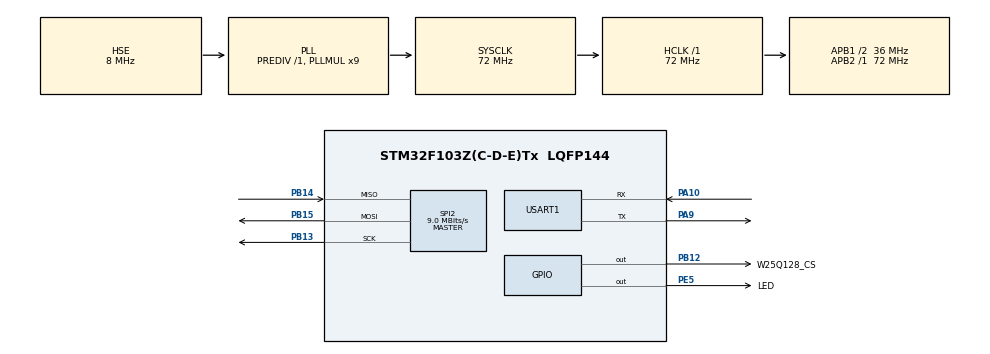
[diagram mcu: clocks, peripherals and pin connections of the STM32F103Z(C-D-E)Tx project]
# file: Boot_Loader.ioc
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Dma.Request0=USART1_RX
Dma.USART1_RX.0.Direction=DMA_PERIPH_TO_MEMORY
Dma.USART1_RX.0.Instance=DMA1_Channel5
Dma.USART1_RX.0.MemDataAlignment=DMA_MDATAALIGN_BYTE
Dma.USART1_RX.0.MemInc=DMA_MINC_ENABLE
Dma.USART1_RX.0.Mode=DMA_CIRCULAR
Dma.USART1_RX.0.PeriphDataAlignment=DMA_PDATAALIGN_BYTE
Dma.USART1_RX.0.PeriphInc=DMA_PINC_DISABLE
Dma.USART1_RX.0.Priority=DMA_PRIORITY_LOW
Mcu.Family=STM32F1
Mcu.Name=STM32F103Z(C-D-E)Tx
Mcu.Package=LQFP144
NVIC.DMA1_Channel5_IRQn=true\:0\:0\:false\:false\:true\:false\:true\:true
NVIC.PriorityGroup=NVIC_PRIORITYGROUP_4
NVIC.USART1_IRQn=true\:0\:0\:false\:false\:true\:true\:true\:true
OSC_IN.Mode=HSE-External-Oscillator
OSC_IN.Signal=RCC_OSC_IN
OSC_OUT.Mode=HSE-External-Oscillator
OSC_OUT.Signal=RCC_OSC_OUT
PA10.GPIO_PuPd=GPIO_PULLUP
PA10.Mode=Asynchronous
PA10.Signal=USART1_RX
PA13.Mode=Serial_Wire
PA13.Signal=SYS_JTMS-SWDIO
PA14.Mode=Serial_Wire
PA14.Signal=SYS_JTCK-SWCLK
PA9.Mode=Asynchronous
PA9.Signal=USART1_TX
PB12.GPIO_Label=W25Q128_CS
PB12.GPIO_PuPd=GPIO_PULLUP
PB12.GPIO_Speed=GPIO_SPEED_FREQ_HIGH
PB12.PinState=GPIO_PIN_SET
PB12.Signal=GPIO_Output
PB13.Mode=Full_Duplex_Master
PB13.Signal=SPI2_SCK
PB14.Mode=Full_Duplex_Master
PB14.Signal=SPI2_MISO
PB15.Mode=Full_Duplex_Master
PB15.Signal=SPI2_MOSI
PC14-OSC32_IN.Mode=LSE-External-Oscillator
PC14-OSC32_IN.Signal=RCC_OSC32_IN
PC15-OSC32_OUT.Mode=LSE-External-Oscillator
PC15-OSC32_OUT.Signal=RCC_OSC32_OUT
PE5.GPIO_Label=LED
PE5.GPIO_ModeDefaultOutputPP=GPIO_MODE_OUTPUT_PP
PE5.GPIO_PuPd=GPIO_PULLUP
PE5.GPIO_Speed=GPIO_SPEED_FREQ_LOW
PE5.PinState=GPIO_PIN_SET
PE5.Signal=GPIO_Output
ProjectManager.HeapSize=0x200
ProjectManager.StackSize=0x400
ProjectManager.TargetToolchain=CMake
RCC.AHBFreq_Value=72000000
RCC.APB1CLKDivider=RCC_HCLK_DIV2
RCC.APB1Freq_Value=36000000
RCC.APB1TimFreq_Value=72000000
RCC.APB2Freq_Value=72000000
RCC.APB2TimFreq_Value=72000000
RCC.HCLKFreq_Value=72000000
RCC.PLLMUL=RCC_PLL_MUL9
RCC.PLLSourceVirtual=RCC_PLLSOURCE_HSE
RCC.SYSCLKFreq_VALUE=72000000
RCC.SYSCLKSource=RCC_SYSCLKSOURCE_PLLCLK
RCC.USBFreq_Value=72000000
SPI2.BaudRatePrescaler=SPI_BAUDRATEPRESCALER_4
SPI2.CalculateBaudRate=9.0 MBits/s
SPI2.Direction=SPI_DIRECTION_2LINES
SPI2.Mode=SPI_MODE_MASTER
SPI2.VirtualType=VM_MASTER
USART1.VirtualMode=VM_ASYNC
board=custom

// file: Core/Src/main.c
/* USER CODE BEGIN Header */
/**
  ******************************************************************************
  * @file           : main.c
  * @brief          : Main program body
  ******************************************************************************
  * @attention
  *
  * Copyright (c) 2026 STMicroelectronics.
  * All rights reserved.
  *
  * This software is licensed under terms that can be found in the LICENSE file
  * in the root directory of this software component.
  * If no LICENSE file comes with this software, it is provided AS-IS.
  *
  ******************************************************************************
  */
/* USER CODE END Header */
#include "main.h"
#include "dma.h"
#include "spi.h"
#include "usart.h"
#include "gpio.h"

/* USER CODE BEGIN Includes */
#include <string.h>
#include "board.h"
#include "uart_app.h"
#include "boot_loader.h"
#include "ota_app.h"		/* 落盘逻辑都在这里，main 只负责把数据喂进去 */
#include "ota_param.h"		/* 参数区 + CRC 校验：判断 App 到底能不能跳 */
#include "w25q.h"			/* 外部 Flash：新固件先落脚在这里。spi.h 已被上方 CubeMX 生成区包含，勿重复 */
#include "ota_slot.h"		/* 双槽布局 + 头部校验：App 把固件写进槽里，Boot 从这里读 */
#include "ota_apply.h"		/* 阶段 3：把槽里的待装固件搬进内部 App 区 */
#include "ota_log.h"		/* 黑匣子：把启动/升级/回滚的关键决策落到 W25Q */
/* USER CODE END Includes */

/* USER CODE BEGIN PD */

/* 串口超过这么多毫秒没有新数据，就把还不足一页的尾巴也写进 Flash。
 * 否则最后一页（比如 11168 字节里的最后 928 字节）会永远留在内存里写不下去。 */
#define OTA_IDLE_FLUSH_MS   2000U

/* 上电后留给上位机的升级窗口（毫秒）。
 * 这段时间内串口收到数据 → 留在 bootloader 升级；一直没有数据 → 跳到 App。
 * 为什么必须留：无条件跳的话，App 一旦写坏或跑飞，bootloader 就再也没机会
 * 被叫醒，只能拿 ST-Link 救。
 * 调大 → 开机慢但从容；调小 → 开机快但按完复位要手快。
 * 3000 是折中：串口助手里点一次"发送"通常 1~2 秒能完成。 */
#define OTA_WAIT_MS         3000U

/* ==================== 复位原因快照 ====================
 * RCC->CSR 里的复位标志读一次就得清（不清的话下次读到的还是这一次的旧值），
 * 而"这次是怎么起来的"在 TrialGuard 里还要再用一次 —— 用来决定
 * "要不要给这一版记一次试用失败"。所以开机先抄进 RAM，后面谁问都能答。 */
#define RST_CAUSE_POR    0x01U      /* 上电 / 欠压 */
#define RST_CAUSE_PIN    0x02U      /* NRST 引脚：人按的复位键 */
#define RST_CAUSE_SFT    0x04U      /* 软件复位：App 收完固件主动回 Boot */
#define RST_CAUSE_IWDG   0x08U      /* 独立看门狗 */
#define RST_CAUSE_WWDG   0x10U      /* 窗口看门狗 */
#define RST_CAUSE_LPWR   0x20U      /* 低功耗唤醒 */

/* ==================== "跳出去没回来"标记 ====================
 * 放在 RTC 后备寄存器 BKP_DR1：不占 RAM 也不占 Flash，复位不掉，
 * 只有断电才丢（板上没装纽扣电池，断电即清 —— 正好当"没有证据"处理）。
 *
 * 用法：Boot 交控制权之前记一笔，App 进 main 的第一件事把它擦掉。
 * 下次上电这笔还在，就说明上次跳过去的那个 App 连 main 都没进 ——
 * 例如时钟配置死等、HardFault 卡在默认处理函数里，**这时候看门狗救不了**
 * （狗还没开），只能靠这个标记把它认出来。
 *
 * 为什么是 16 位：F1 的 BKP_DRx 实际只有低 16 位有效！写 32 位常量进去
 * 高位会被丢掉（踩过：写 0x4A4D5031，回读只有 0x5031，比较永远不相等，
 * 整条握手静默失效，日志上看不出任何异常）。所以魔术字必须是 16 位的。 */
#define BKP_JUMP_MAGIC   0xA55AU         /* 只占低 16 位，正好放得下 */

/* USER CODE END PD */

/* USER CODE BEGIN PV */
/* 从串口取数据的临时区。放静态区：512 字节压栈太靠近 1KB 栈底。
   攒页缓冲已经搬进 ota_app.c，main 里不再需要 s_page。 */
static uint8_t s_rx[512];

/* 这次复位的原因（RST_CAUSE_xxx 的位或），ResetCause_Snapshot 填一次 */
static uint8_t s_rst_cause = 0U;
/* USER CODE END PV */

void SystemClock_Config(void);

/* USER CODE BEGIN 0 */

/**
  * 函    数：把这次复位的原因打出来，然后清掉标志
  * 说    明：RCC->CSR 里锁存着复位来源，读一次就知道是按键、上电还是看门狗。
  *           必须清标志 —— 不清的话下次读到的还是这一次的旧值，永远查不出真相。
  *
  * 怎么看结果（实测规律）：
  *     真正上电      → POR + PIN 两条（上电瞬间 NRST 引脚也会被拉低一次）
  *     只按复位键    → 只有 PIN 一条
  *     调试器 reset  → SFT（或 PIN，取决于调试器走哪条路）
  *     看门狗咬的    → IWDG
  *
 * 为什么要查这个：只有 PIN 却连续出现好几条，说明按一次键产生了多个复位脉冲
 * （机械按键抖动），不是固件在循环重启 —— 这两件事的处理方式完全不同。
 *
 * 【为什么日志一律用英文，不用中文】
 * 源码是 UTF-8 保存的，一个汉字占 3 字节，这些字节会被原样烧进固件；
 * 而串口助手默认按 GBK 解码（1 个汉字 2 字节），于是「引脚」6 个字节
 * 被拆成 3 个 GBK 汉字 → 显示成「寮曡剼」这种乱码。
 * 这不是固件的问题，是两端编码不一致。日志用 ASCII 就永远不会遇到，
 * 换个串口工具、换台电脑都一样。中文只写在注释里（注释不进二进制）。
 */
/**
  * 函    数：ResetCause_Snapshot
  * 功    能：把 RCC->CSR 里的复位标志抄进 RAM，然后清掉标志
  * 说    明：必须在 main 最开头调用，早于任何可能触发第二次复位的操作。
  *           抄而不是每次现读，是因为标志只能读一次 —— 清完就没了，
  *           而 TrialGuard 是几百毫秒后才需要这个信息。
  *
  * 怎么看结果（实测规律）：
  *     真正上电      → POR + PIN 两条（上电瞬间 NRST 引脚也会被拉低一次）
  *     只按复位键    → 只有 PIN 一条
  *     调试器 reset  → SFT（或 PIN，取决于调试器走哪条路）
  *     看门狗咬的    → IWDG
  */
static void ResetCause_Snapshot(void)
{
	uint8_t c = 0U;

	if(__HAL_RCC_GET_FLAG(RCC_FLAG_PORRST))  { c |= RST_CAUSE_POR;  }
	if(__HAL_RCC_GET_FLAG(RCC_FLAG_PINRST))  { c |= RST_CAUSE_PIN;  }
	if(__HAL_RCC_GET_FLAG(RCC_FLAG_SFTRST))  { c |= RST_CAUSE_SFT;  }
	if(__HAL_RCC_GET_FLAG(RCC_FLAG_IWDGRST)) { c |= RST_CAUSE_IWDG; }
	if(__HAL_RCC_GET_FLAG(RCC_FLAG_WWDGRST)) { c |= RST_CAUSE_WWDG; }
	if(__HAL_RCC_GET_FLAG(RCC_FLAG_LPWRRST)) { c |= RST_CAUSE_LPWR; }

	s_rst_cause = c;
	__HAL_RCC_CLEAR_RESET_FLAGS();		/* 清掉，下次复位才有干净的结果 */
}

/**
  * 函    数：ResetCause_Name
  * 功    能：把快照翻成一个词，日志里直接用
  * 说    明：判序有讲究 —— 真上电是 POR+PIN 两条，先说"上电"才符合直觉；
  *           看门狗优先于其它，因为它是唯一能证明"固件自己没撑住"的那个。
  */
static const char *ResetCause_Name(void)
{
	if((s_rst_cause & (RST_CAUSE_IWDG | RST_CAUSE_WWDG)) != 0U) { return "看门狗"; }
	if((s_rst_cause & RST_CAUSE_POR)  != 0U) { return "上电"; }
	if((s_rst_cause & RST_CAUSE_PIN)  != 0U) { return "复位键"; }
	if((s_rst_cause & RST_CAUSE_SFT)  != 0U) { return "软件复位"; }
	return "未知";
}

/**
  * 函    数：PrintResetCause
  * 功    能：把这次复位的原因打出来
  * 说    明：只打印，不读也不清标志 —— 那是 ResetCause_Snapshot 的活儿，
  *           在这里再读一次只会读到已经被清空的 0。
  */
static void PrintResetCause(void)
{
	if((s_rst_cause & RST_CAUSE_POR)  != 0U)
	{
		Uart_Printf(UART_LOG, "[rst] POR  / 上电或欠压复位\r\n");
	}
	if((s_rst_cause & RST_CAUSE_PIN)  != 0U)
	{
		Uart_Printf(UART_LOG, "[rst] PIN  / 复位引脚\r\n");
	}
	if((s_rst_cause & RST_CAUSE_SFT)  != 0U)
	{
		Uart_Printf(UART_LOG, "[rst] SFT  / 软件复位\r\n");
	}
	if((s_rst_cause & RST_CAUSE_IWDG) != 0U)
	{
		Uart_Printf(UART_LOG, "[rst] IWDG / 独立看门狗复位\r\n");
	}
	if((s_rst_cause & RST_CAUSE_WWDG) != 0U)
	{
		Uart_Printf(UART_LOG, "[rst] WWDG / 窗口看门狗复位\r\n");
	}
	if((s_rst_cause & RST_CAUSE_LPWR) != 0U)
	{
		Uart_Printf(UART_LOG, "[rst] LPWR / 低功耗唤醒\r\n");
	}
}

/* ==================== 后备寄存器握手 ====================
 * 为什么不用全局变量：Boot 和 App 是两个独立工程，各编各的链接脚本，
 * 一个普通的 .noinit 变量在两边地址未必相同，而且 App 的栈和它可能撞上。
 * BKP_DR1 是芯片自带的一块独立小存储，和 RAM/Flash 布局完全无关，
 * 两个工程只要约定同一个"魔术字"就能对话 —— 和 ota_slot.h 里那套
 * 双槽布局是同一个思路。
 *
 * 为什么直接写寄存器：工程 Drivers 是裁剪过的，没有 HAL 的 PWR/BKP 驱动，
 * 为了两三个位补一堆 HAL 代码不划算（和 WDG 那边同样的取舍）。 */
static void Bkp_Init(void)
{
	RCC->APB1ENR |= RCC_APB1ENR_PWREN | RCC_APB1ENR_BKPEN;
	(void)RCC->APB1ENR;					/* 读回一次，确认时钟真的开了再动 BKP */
	PWR->CR      |= PWR_CR_DBP;			/* 解除后备区写保护 */
}

static void Bkp_MarkJump(void)
{
	BKP->DR1 = BKP_JUMP_MAGIC;			/* 交控制权了，App 还没回话 */
}

static uint8_t Bkp_JumpUnacked(void)
{
	return ((BKP->DR1 & 0xFFFFU) == BKP_JUMP_MAGIC) ? 1U : 0U;
}

/* ==================== OTA 收尾：校验 → 存参数 → 主动跳转 ==================== */

/**
  * 函    数：CheckAppBoot
  * 功    能：判断 App 到底能不能跳
  * 返 回 值：0 = 不能跳（空片 / 向量表不合法 / 参数坏 / CRC 不对）
  *           1 = 能跳（参数有效，且 Flash 读回来算的 CRC 对得上）
  *           2 = 兼容模式（参数页空的，多半是老固件；只做了向量表检查）
  *
  * 说    明：为什么要有 2 这个状态。
  *           加了参数区之后，之前刷进去的老固件没有参数，一律拒绝跳转的话
  *           用户会以为"刷个 bootloader 把板子刷砖了"。所以参数页全空时
  *           退回原来的弱检查，但日志明确写 unverified —— 提醒这份固件没校验过。
  */
static uint8_t CheckAppBoot(void)
{
	OtaParam_t p;
	int8_t     st;

	if(Boot_Loader_AppValid(APP_ADDR) == 0U)
	{
		Uart_Printf(UART_LOG, "[boot] App 无效：向量表不对\r\n");
		return 0U;
	}

	st = Ota_Param_Load(&p);
	if(st == OTA_PARM_EMPTY)
	{
		Uart_Printf(UART_LOG, "[boot] 无参数页，App 未经验证\r\n");
		return 2U;
	}
	if(st != OTA_PARM_OK)
	{
		/* 参数页有内容却校验不过：多半是上次写参数时断了电 */
		Uart_Printf(UART_LOG, "[boot] 参数页损坏，停在 OTA\r\n");
		return 0U;
	}

	Uart_Printf(UART_LOG, "[boot] 参数：App=%luB CRC=0x%08lX\r\n",
				(unsigned long)p.length, (unsigned long)p.crc32);

	if(Ota_VerifyFlash(APP_ADDR, p.length, p.crc32) != 0)
	{
		/* 参数说该是多少，Flash 里却不是 —— 跳过去必跑飞 */
		Uart_Printf(UART_LOG, "[boot] CRC 不符，停在 OTA\r\n");
		return 0U;
	}

	Uart_Printf(UART_LOG, "[boot] CRC 校验通过\r\n");
	return 1U;
}

/**
  * 函    数：FinishOta
  * 功    能：收到尾部记录后的完整收尾：落盘 → 校验 → 存参数 → 跳转
  * 说    明：任何一步失败都 return，把板子留在 OTA 里等重传。
  *           宁可让用户再发一次，也不能跳进一份坏固件。
  */
static void FinishOta(const OtaTail_t *tail)
{
	Uart_Printf(UART_LOG, "[ota] 尾部：长度=%lu CRC=0x%08lX\r\n",
				(unsigned long)tail->length, (unsigned long)tail->crc32);

	/* 先把 RAM 里攒着的最后一页写出去。不 Flush 的话 Flash 里缺结尾一段，
	   下面读回来算的 CRC 必然对不上 */
	if(Ota_Flush() != OTA_OK)
	{
		Uart_Printf(UART_LOG, "[ota] 落盘失败\r\n");
		return;
	}

	if(Ota_Total() != tail->length)
	{
		Uart_Printf(UART_LOG, "[ota] 长度不符：收到 %lu，应为 %lu\r\n",
					(unsigned long)Ota_Total(),
					(unsigned long)tail->length);
		return;
	}

	if(Ota_VerifyFlash(APP_ADDR, tail->length, tail->crc32) != 0)
	{
		Uart_Printf(UART_LOG, "[ota] 校验失败\r\n");
		return;
	}
	Uart_Printf(UART_LOG, "[ota] 校验通过 %luB\r\n",
				(unsigned long)tail->length);

	/* 参数最后写：它写成功之后，下次上电就以它为准了 */
	if(Ota_Param_Save(tail->length, tail->crc32, 0U) != OTA_PARM_OK)
	{
		Uart_Printf(UART_LOG, "[ota] 参数页保存失败\r\n");
		return;
	}

	Uart_Printf(UART_LOG, "[boot] 跳转到 App 0x%08lX\r\n",
				(unsigned long)APP_ADDR);
	Bkp_MarkJump();					/* 交控制权，等 App 进门后自己擦掉 */
	Boot_Loader_JumpToApp(APP_ADDR);
	Uart_Printf(UART_LOG, "[boot] 跳转中止\r\n");
}

/**
  * 函    数：HandleRx
  * 功    能：统一处理收到的一包数据
  * 返 回 值：1 = 这包是尾部记录（收尾流程已接管，可能已经跳走不返回）
  *           0 = 普通固件数据，已喂给 ota_app
  */
static uint8_t HandleRx(const uint8_t *buf, uint32_t len)
{
	OtaTail_t tail;
	uint32_t  i;
	uint32_t  total = Ota_Total() + Ota_Fill();

	/* 在整个数据块里找尾部记录，而不是只看块首。
	   原因是串口是流式的：上位机发完最后一块会紧接着发尾部，
	   MCU 的一次 Uart_Read 完全可能把「固件末尾若干字节 + 12 字节尾部」
	   合并成一块。只看块首的话，magic 根本不在开头，检测必然失败，
	   于是这 12 字节就被当成固件写进 Flash —— 实测踩过。
	   扫到之后，把尾部前面的部分正常落盘，再走校验流程。 */
	for(i = 0U; (i + OTA_TAIL_BYTES) <= len; i++)
	{
		/* recv_total 传 total + i：扫到第 i 字节时，这 i 字节还没落盘 */
		if(Ota_ParseTail(&buf[i], OTA_TAIL_BYTES, total + i, &tail) != 0U)
		{
			if(i > 0U)
			{
				if(Ota_Feed(buf, i) != OTA_OK)
				{
					Uart_Printf(UART_LOG, "[ota] 尾部之前写入失败\r\n");
					return 1U;
				}
			}
			FinishOta(&tail);
			return 1U;
		}
	}

	/* 别写进参数页 */
	if((Ota_Total() + Ota_Fill() + len) > OTA_APP_MAX)
	{
		Uart_Printf(UART_LOG, "[ota] 溢出：%lu > %lu\r\n",
					(unsigned long)(Ota_Total() + Ota_Fill() + len),
					(unsigned long)OTA_APP_MAX);
		return 1U;
	}

	if(Ota_Feed(buf, len) != OTA_OK)
	{
		Uart_Printf(UART_LOG, "[ota] 写 0x%08lX 失败，累计 %lu\r\n",
					(unsigned long)Ota_Addr(), (unsigned long)Ota_Total());
	}
	return 0U;
}

/**
  * 函    数：TrialGuard
  * 功    能：试用计数 / 确认核对 / 超限回滚（阶段 4）
  * 返 回 值：1 = 不要跳 App（回滚失败，跳过去只会无限重启）
  *           0 = 正常，让后面的 CheckAppBoot 决定
  * 说    明：必须放在 OtaApply_FromSlot 之后、CheckAppBoot 之前。
  *           放前面：本次刚搬进来的固件还没被计过数，读到的是上一版状态。
  *           放后面：CheckAppBoot 已经决定能跳，回滚就来不及了。
  */
static uint8_t TrialGuard(void)
{
	OtaParam_t   p;
	OtaConfirm_t c;
	uint8_t      state;
	uint8_t      cnt;

	if(Ota_Param_Load(&p) != OTA_PARM_OK)
	{
		return 0U;			/* 没参数 = 老固件或空片，没有试用语义 */
	}

	state = Ota_Param_State(p.reserved);
	cnt   = Ota_Param_TrialCnt(p.reserved);

	/* 确认标记必须和"当前这一版"对得上才算数。只比 magic 不够：
	   升级之后标记还是上一版留下的，会立刻把新固件误判成"跑起来过" */
	if((OtaSlot_ReadConfirm(&c) == OTA_SLOT_OK)
	   && (c.fw_len == p.length) && (c.fw_crc == p.crc32))
	{
		if(state == OTA_PARM_STATE_TRIAL)
		{
			(void)Ota_Param_SetState(OTA_PARM_STATE_CONFIRMED, 0U);
			Uart_Printf(UART_LOG, "[trial] App 已确认 长度=%lu，试用转正\r\n",
						(unsigned long)p.length);
			/* 记一笔"这一版活下来了"。将来比对"装了几次才转正"能看出
			   某些固件是不是启动偏慢、总在门限边缘晃 */
			(void)OtaLog_Append(OTA_LOG_EVT_CONFIRM, p.version, p.length, 0U);
		}
		return 0U;
	}

	if(state != OTA_PARM_STATE_TRIAL)
	{
		return 0U;			/* 已确认（含老参数 0xF），什么都不用做 */
	}

	/* ---------- 试用机制的判定核心：什么才算"这一版没撑住" ----------
	 * 以前这里只看"状态是试用 + 没有确认标记"就直接 +1，不问复位原因。
	 * 后果很现实：新固件装好后，在 5 秒确认门限内连按三次复位键，
	 * Boot 会认定它三次都没撑住，把一份完全正常的固件退回旧版。
	 * 这种"假失败"比真失败更坑人 —— 日志里看不出任何异常。
	 *
	 * 能当证据的只有两种：
	 *   1) 看门狗复位：主循环没喂狗，铁证
	 *   2) BKP 标记还在：上次控制权交出去，App 连 main 都没进
	 *      （时钟死等、HardFault 卡在默认处理函数里，狗还没开就得靠它）
	 * 不算证据的一律放行，而且不写参数页（省一次 2KB 页擦写）：
	 *   PIN   人按的复位键
	 *   SFT   软件复位：App 收完固件主动回 Boot，属正常流程
	 *   POR   纯上电 / 插拔电源，用户行为，不是固件行为
	 */
	{
		uint8_t by_wdg = (uint8_t)((s_rst_cause & (RST_CAUSE_IWDG | RST_CAUSE_WWDG)) != 0U);
		uint8_t by_app = Bkp_JumpUnacked();

		if((by_wdg == 0U) && (by_app == 0U))
		{
			Uart_Printf(UART_LOG, "[trial] 本次是%s复位，不计试用失败（%u/%u）\r\n",
						ResetCause_Name(), (unsigned)cnt,
						(unsigned)OTA_PARM_TRIAL_MAX);
			return 0U;
		}

		Uart_Printf(UART_LOG, "[trial] 判定失败：%s\r\n",
					(by_wdg != 0U) ? "看门狗复位" : "上次跳转后没进 App 的 main");

		/* 两种失败原因分开记：看门狗说明固件进了主循环才死，
		   "跳转未响应"说明连 main 都没活到。排查方向完全不同 */
		if(by_wdg != 0U)
		{
			(void)OtaLog_Append(OTA_LOG_EVT_TRIAL_FAIL, p.version, p.length, cnt);
		}
		else
		{
			(void)OtaLog_Append(OTA_LOG_EVT_STUCK, p.version, p.length, cnt);
		}
	}

	cnt = (uint8_t)(cnt + 1U);

	if(cnt >= OTA_PARM_TRIAL_MAX)
	{
		Uart_Printf(UART_LOG, "[trial] 连续 %u 次没等到确认，开始回滚\r\n",
					(unsigned)cnt);

		if(OtaApply_RestoreFromB() == OTA_APPLY_OK)
		{
			return 0U;		/* 回滚成功，参数页已写成"已确认"，可以跳 */
		}

		/* 回滚不了就别跳：这份固件已经证明自己跑不起来，跳过去只会
		   让人以为"一上电就重启"，比停在串口更难查 */
		Uart_Printf(UART_LOG, "[trial] 回滚不可用，停在 bootloader 等重传\r\n");
		return 1U;
	}

	/* 计数必须落盘。只在 RAM 里加的话每次上电都从 0 开始，永远到不了上限，
	   坏固件就会无限重启 —— 这正是要防的那个故障 */
	if(Ota_Param_SetState(OTA_PARM_STATE_TRIAL, cnt) == OTA_PARM_OK)
	{
		Uart_Printf(UART_LOG, "[trial] 等 App 确认 %u/%u\r\n",
					(unsigned)cnt, (unsigned)OTA_PARM_TRIAL_MAX);
		(void)OtaLog_Append(OTA_LOG_EVT_TRIAL, p.version, p.length, (uint32_t)cnt);
	}

	return 0U;
}

/* USER CODE END 0 */

int main(void)
{

  /* MCU Configuration--------------------------------------------------------*/

  /* Reset of all peripherals, Initializes the Flash interface and the Systick. */
  HAL_Init();

  /* USER CODE BEGIN Init */

  /* 第一件事：把复位原因抄下来。必须在任何可能引发复位或清标志的操作之前
     —— RCC->CSR 的复位标志只能读一次，读晚了就被下一条复位覆盖了 */
  ResetCause_Snapshot();

  /* USER CODE END Init */

  /* Configure the system clock */
  SystemClock_Config();

  /* Initialize all configured peripherals */
  MX_GPIO_Init();
  MX_DMA_Init();
  MX_USART1_UART_Init();
  MX_SPI2_Init();
  /* USER CODE BEGIN 2 */
  Uart_Init();
  // Led_Fan(1);

  PrintResetCause();				/* 这次是被什么复位起来的：POR / PIN / SFT / IWDG */
  Bkp_Init();						/* 后备寄存器：和 App 对"跳过去有没有活过来"的暗号 */

	/* ---------- 阶段 0 自检：Boot 到底能不能碰到外部 Flash ----------
	   OTA 新方案是「App 下载固件到 W25Q → 复位 → Boot 搬进内部 Flash」，
	   所以 Boot 自己必须能驱动 SPI2 和 W25Q。这一步不通，后面所有搬运逻辑
	   都是空中楼阁，所以放在最前面打一行 ID：看到 0xEF4018 就说明链路通了。

	   失败时优先查三处（按踩坑概率排序）：
	     1. HAL_SPI_MODULE_ENABLED 没打开 —— HAL_SPI_Init 变成空函数，读回全 0xFF
	     2. PB12 片选被别的外设抢了，或者 GPIOB 时钟没开
	     3. SPI2 引脚被 CubeMX 配成了别的功能 */
	{
		uint32_t w25q_id = 0xFFFFFFFFUL;

		/* 片选用 CubeMX 生成的宏（main.h: W25Q128_CS_GPIO_Port/Pin），不再写死 GPIOB/PIN_12：
		   PB12 现在由 gpio.c 统一配置，以后在 CubeMX 里换片选脚，这里会自动跟随，
		   避免「.ioc 改了、代码还指着老引脚」这种不报错的静默不一致 */
		if(W25q_Init(&hspi2, W25Q128_CS_GPIO_Port, W25Q128_CS_Pin) == W25Q_OK)
		{
			w25q_id = W25q_ReadId();
		}
		Uart_Printf(UART_LOG, "[boot] W25Q 芯片ID=0x%06lX %s\r\n",
					(unsigned long)w25q_id,
					(w25q_id == W25Q_JEDEC_ID) ? "正常" : "异常，应为 0xEF4018");
	}

	/* ---------- 黑匣子：先把"上次及更早发生了什么"倒出来 ----------
	   放在槽扫描和搬运之前。下面几步自己会往日志里追加记录，
	   先打印再追加，看到的就是"本次上电之前"的历史，不会和本次混在一起。

	   只打最近 5 条 —— 多了会淹没正常的启动日志，而真正要查的问题
	   几乎总在最上面几条里。要看全量改这个数字即可（上限 128）。 */
	(void)OtaLog_DumpRecent(5U);

	/* 记下这次是怎么起来的 */
	{
		uint32_t ev;

		if((s_rst_cause & RST_CAUSE_IWDG) != 0U)     { ev = OTA_LOG_EVT_RST_IWDG;  }
		else if((s_rst_cause & RST_CAUSE_PIN) != 0U) { ev = OTA_LOG_EVT_RST_PIN;   }
		else if((s_rst_cause & RST_CAUSE_SFT) != 0U) { ev = OTA_LOG_EVT_RST_SFT;   }
		else if((s_rst_cause & RST_CAUSE_POR) != 0U) { ev = OTA_LOG_EVT_RST_POR;   }
		else                                         { ev = OTA_LOG_EVT_RST_OTHER; }

		(void)OtaLog_Append(ev, 0U, 0U, (uint32_t)s_rst_cause);
	}

	/* ---------- 阶段 1 自检：双槽头部读得出来吗 ----------
	   槽 A/B 各占 W25Q 前 1MB 里的 512KB：头 4KB + 数据 508KB。
	   头部独占扇区的理由见 ota_slot.h —— 它保证写固件时永远碰不到头。

	   这里只读不写，所以刷完固件上电看到的就是槽里真实状态：
	     empty  = 这个槽从没被写过（出厂状态）
	     bad    = 有内容但对不上：magic / 结构版本 / 头 CRC / 长度 任一项挂了
	     ok     = 头部可信，里面确实标记着一份长度合法的固件 */
	{
		static const uint8_t s_slots[2] = { OTA_SLOT_A, OTA_SLOT_B };

		for(uint8_t i = 0U; i < 2U; i++)
		{
			OtaSlotHeader_t hdr;
			const char     *name = (s_slots[i] == OTA_SLOT_A) ? "A" : "B";
			int8_t          st   = OtaSlot_ReadHeader(s_slots[i], &hdr);

			if(st == OTA_SLOT_OK)
			{
				Uart_Printf(UART_LOG, "[slot] %s：正常 版本=%u 长度=%lu CRC=0x%08lX\r\n",
							name,
							(unsigned)hdr.fw_ver,
							(unsigned long)hdr.fw_len,
							(unsigned long)hdr.fw_crc);
			}
			else if(st == OTA_SLOT_EMPTY)
			{
				Uart_Printf(UART_LOG, "[slot] %s：空\r\n", name);
			}
			else if(st == OTA_SLOT_BAD)
			{
				/* 判 BAD 只说明"这 32 字节不构成合法头部"，但完全没说它是
				   空白以外的什么。把原始字节打出来，才能区分三种常见情况：
				     全 0x00       → MISO 一直低，SPI 根本没读到东西
				     乱码/部分数据 → 这个槽以前被别的程序用过，需要先擦
				     像头部但 CRC 错 → 两份 ota_slot.h 布局不一致，或写一半断电 */
				const uint8_t *raw = (const uint8_t *)&hdr;
				uint8_t k;
				uint8_t m;

				Uart_Printf(UART_LOG, "[slot] %s：不可信（标识/版本/CRC/长度）\r\n", name);

				/* 16 字节一行：一行 3*16+13 = 61 字符，不会撞上 Uart_Printf 的 100 字节缓冲 */
				for(k = 0U; k < (uint8_t)sizeof(hdr); k = (uint8_t)(k + 16U))
				{
					Uart_Printf(UART_LOG, "[slot]   +%02X:", (unsigned)k);
					for(m = 0U; (m < 16U) && ((uint8_t)(k + m) < (uint8_t)sizeof(hdr)); m++)
					{
						Uart_Printf(UART_LOG, " %02X", raw[k + m]);
					}
					Uart_Printf(UART_LOG, "\r\n");
				}
			}
			else
			{
				Uart_Printf(UART_LOG, "[slot] %s：读取错误\r\n", name);
			}
		}
	}

	/* ---------- 阶段 3：把槽里的待装固件搬进内部 Flash ----------
	   放在"上电窗口"之前，是因为搬运完成之后参数页才是最新的，
	   后面 CheckAppBoot() 才能一次性判断"这份固件能不能跳"。
	   如果放到跳转判断之后，就会先判"参数对不上 → 不可跳"，
	   然后才搬，逻辑上永远慢一拍。

	   这一步可能耗时几百毫秒到十几秒（看固件大小），期间串口会卡住，
	   属于正常现象：F103 单 bank，擦写 Flash 时 CPU 停止取指。 */
	(void)OtaApply_FromSlot(OTA_SLOT_A);

	/* 参数页丢失后的自愈：账本（参数页）被整片擦除带走过一次，
	   表现是"板子还能跑，但每次上电都说未经验证"，试用和回滚
	   静默失效。真相在槽头和固件本身，重新对一次账就能恢复。
	   放在 FromSlot 之后：刚搬完的固件已经写好参数页，这里不会误动 */
	(void)OtaApply_RecoverParam();

	/* 试用期检查（阶段 4）：刚搬进来的固件还没被 App 亲口确认过。
	   这里决定"再给一次机会（计数+1）"还是"退回上一版"。
	   返回值 1 表示回滚失败、不能跳，下面会跳过跳转直接进收固件循环 */
	uint8_t trial_block = TrialGuard();

	uint16_t len;						/* 这次从串口取到多少字节 */
	uint32_t last_rx  = Board_Millis();	/* 最后一次收到数据的时刻 */
	uint32_t t_boot   = Board_Millis();	/* 上电时刻，用来算等待窗口 */
	uint8_t  ota_mode = 0U;				/* 1 = 已经决定留在 bootloader 收固件 */

	Ota_Init(APP_ADDR);					/* 写入起点：App 区第 16 页开头，同时清空内部状态 */

	/* proto=2：告诉上位机"我支持尾部记录 + CRC 校验，发完请补 12 字节尾部"。
	   老版本没有这个字段，上位机会自动退回"等 sum 然后复位"的老流程，
	   所以新工具配旧 bootloader 也不会多发字节。 */
	Uart_Printf(UART_LOG, "\r\n[ota] 就绪，App=0x%08lX，页大小=%luB，协议=2\r\n",
				(unsigned long)APP_ADDR, (unsigned long)OTA_PAGE_BYTES);

	/* ---------- 上电窗口 ----------
	   App 校验通过时等 OTA_WAIT_MS 毫秒：这期间上位机发数据就留在 bootloader
	   升级，一直没数据就跳过去跑 App。
	   校验不过（空片 / 参数坏 / CRC 错）就不用等 —— 反正没得跳，直接进下面的循环。

	   注意这里比原来严了：以前只看向量表"像不像样"，现在要求 Flash 读回来
	   算的 CRC 和参数里记的一致。宁可停在 OTA 等重传，也不跳进坏固件。 */
	{
		uint8_t boot_st = CheckAppBoot();

		/* ---------- 搬运中途断电的自救 ----------
		   掉电发生在"旧固件已擦、新固件写一半"那一刻时：参数页还是旧的
		   （它要等校验通过才更新），所以 CheckAppBoot 必然失败，
		   而槽 B 里恰好躺着上一版完整固件。
		   以前这种情况只能插串口重传；现在直接搬回来，设备自己就活了。

		   只在 boot_st == 0（真的坏了）时触发：老固件走的 2 不能碰，
		   那是"能用只是没参数"的正常状态。 */
		if((boot_st == 0U) && (trial_block == 0U))
		{
			OtaSlotHeader_t hb;

			if(OtaSlot_ReadHeader(OTA_SLOT_B, &hb) == OTA_SLOT_OK)
			{
				Uart_Printf(UART_LOG, "[boot] 内部 Flash 校验不过，用槽 B 自救\r\n");

				if(OtaApply_RestoreFromB() == OTA_APPLY_OK)
				{
					boot_st = CheckAppBoot();	/* 搬完再判一次，通过就正常跳 */
				}
			}
		}

		if(trial_block != 0U)					/* 回滚失败：绝不跳 */
		{
			/* 试用失败且没有可回滚的备份：不跳。跳到一份已经证明
			   跑不起来的固件，现场只会看到"一直在重启" */
			Uart_Printf(UART_LOG, "[boot] 固件未通过试用，等待串口重传\r\n");
		}
		else if(boot_st != 0U)					/* 1 = 校验通过；2 = 老固件，没参数 */
		{
			if(boot_st == 2U)
			{
				Uart_Printf(UART_LOG, "[boot] 兼容模式：未经验证\r\n");
			}

			while((ota_mode == 0U) && (Timer_Timeout(&t_boot, OTA_WAIT_MS) == 0U))
			{
				len = Uart_Read(UART_LOG, s_rx, sizeof(s_rx));
				if(len > 0U)
				{
					last_rx  = Board_Millis();
					ota_mode = 1U;
					Uart_Printf(UART_LOG, "[boot] 进入 OTA\r\n");
					/* arg 记收到多少字节：偶尔会有"上电就被外部噪声触发进 OTA"
					   的现象，一看字节数（1~2 字节）就能判断是噪声而不是上位机 */
					(void)OtaLog_Append(OTA_LOG_EVT_OTA_MODE, 0U, 0U, (uint32_t)len);
					HandleRx(s_rx, len);	/* 这一包别丢；万一是尾部也能认出来 */
				}
			}

			if(ota_mode == 0U)				/* 窗口内没人理，跳 App */
			{
				Uart_Printf(UART_LOG, "[boot] 跳转到 App 0x%08lX\r\n", (unsigned long)APP_ADDR);
				Bkp_MarkJump();				/* 交控制权，等 App 进门后自己擦掉 */
				Boot_Loader_JumpToApp(APP_ADDR);
				Uart_Printf(UART_LOG, "[boot] 跳转中止\r\n");
			}
		}
		else
		{
			Uart_Printf(UART_LOG, "[boot] 没有可用 App，等待串口下载\r\n");
			/* 这条经常和"回滚不可用"连着出现，是设备停在串口的直接证据 */
			(void)OtaLog_Append(OTA_LOG_EVT_NOAPP, 0U, 0U, 0U);
		}
	}
  /* USER CODE END 2 */

  /* Infinite loop */
  while (1)
  {

    /* USER CODE BEGIN 3 */
	len = Uart_Read(UART_LOG, s_rx, sizeof(s_rx));	/* 取到 0 表示这段时间没有新数据 */

	if(len > 0U)
	{
		last_rx = Board_Millis();					/* 每收到一次就刷新"最后收到"的时刻 */

		/* 攒页 + 落盘藏在 Ota_Feed 里；但先要分辨这包是不是「尾部记录」。
		   HandleRx 返回 1 表示已按尾部处理（校验通过就直接跳走了，不回来） */
		HandleRx(s_rx, len);
	}
	else if((Ota_Fill() > 0U) && (Timer_Timeout(&last_rx, OTA_IDLE_FLUSH_MS) != 0U))
	{
		/* 2 秒没有新数据：说明发完了，把不足一页的尾巴也写出去。
		   新的上位机会明确发尾部记录，这条只是兜底 —— 老版本工具、
		   或者尾部包丢了的时候，至少数据不会烂在 RAM 里。 */
		Ota_Flush();
	}
  }
  /* USER CODE END 3 */
}

void SystemClock_Config(void)
{
  RCC_OscInitTypeDef RCC_OscInitStruct = {0};
  RCC_ClkInitTypeDef RCC_ClkInitStruct = {0};

  /** Initializes the RCC Oscillators according to the specified parameters
  * in the RCC_OscInitTypeDef structure.
  */
  RCC_OscInitStruct.OscillatorType = RCC_OSCILLATORTYPE_HSE;
  RCC_OscInitStruct.HSEState = RCC_HSE_ON;
  RCC_OscInitStruct.HSEPredivValue = RCC_HSE_PREDIV_DIV1;
  RCC_OscInitStruct.HSIState = RCC_HSI_ON;
  RCC_OscInitStruct.PLL.PLLState = RCC_PLL_ON;
  RCC_OscInitStruct.PLL.PLLSource = RCC_PLLSOURCE_HSE;
  RCC_OscInitStruct.PLL.PLLMUL = RCC_PLL_MUL9;
  if (HAL_RCC_OscConfig(&RCC_OscInitStruct) != HAL_OK)
  {
    Error_Handler();
  }

  /** Initializes the CPU, AHB and APB buses clocks
  */
  RCC_ClkInitStruct.ClockType = RCC_CLOCKTYPE_HCLK|RCC_CLOCKTYPE_SYSCLK
                              |RCC_CLOCKTYPE_PCLK1|RCC_CLOCKTYPE_PCLK2;
  RCC_ClkInitStruct.SYSCLKSource = RCC_SYSCLKSOURCE_PLLCLK;
  RCC_ClkInitStruct.AHBCLKDivider = RCC_SYSCLK_DIV1;
  RCC_ClkInitStruct.APB1CLKDivider = RCC_HCLK_DIV2;
  RCC_ClkInitStruct.APB2CLKDivider = RCC_HCLK_DIV1;

  if (HAL_RCC_ClockConfig(&RCC_ClkInitStruct, FLASH_LATENCY_2) != HAL_OK)
  {
    Error_Handler();
  }
}

void Error_Handler(void)
{
  __disable_irq();
  while (1)
  {
  }
}
